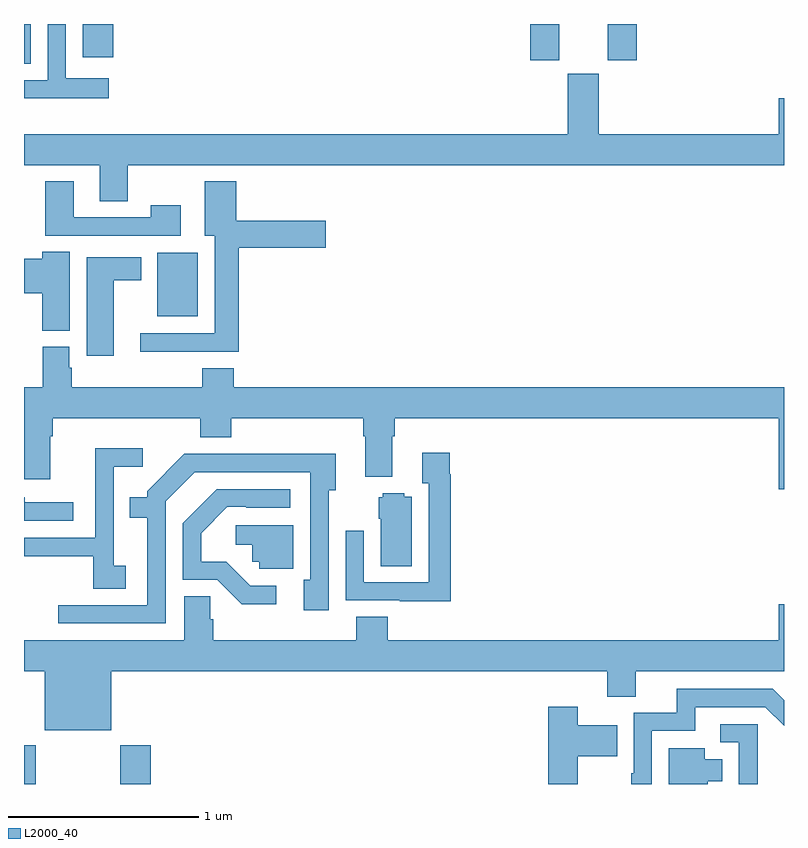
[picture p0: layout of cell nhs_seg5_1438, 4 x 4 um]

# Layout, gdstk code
import gdstk
lib = gdstk.Library(unit=1e-6, precision=1e-09)
def R(c, l, rs):  # rectangles x0, y0, x1, y1
    for r in rs: c.add(gdstk.rectangle(r[:2], r[2:], *l))
def P(c, l, *ps):  # polygons
    for p in ps: c.add(gdstk.Polygon(p, *l))
L2000_40 = (2000, 40)

nhs_seg5_1438 = lib.new_cell('nhs_seg5_1438')
R(nhs_seg5_1438, L2000_40, [(197,890.799,197.061,891.004), (197.506,890.799,197.666,891.004), (197.702,893.261,197.914,893.596), (197,894.589,197.035,894.799), (199.664,894.609,199.816,894.799), (200.072,894.609,200.225,894.799), (197.309,894.624,197.47,894.799)])
P(nhs_seg5_1438, L2000_40, [(197.446,894.514),(197.22,894.514),(197.22,894.799),(197.124,894.799),(197.124,894.504),(197,894.504),(197,894.408),(197.027,894.408),(197.027,894.407),(197.446,894.407)],
  [(197.547,894.056),(201,894.056),(201,894.409),(200.972,894.409),(200.972,894.22),(200.026,894.22),(200.026,894.537),(199.862,894.537),(199.862,894.22),(197,894.22),(197,894.056),(197.399,894.056),(197.399,893.866),(197.547,893.866)],
  [(198.131,893.621),(198.589,893.621),(198.589,893.763),(198.118,893.763),(198.118,893.971),(197.951,893.971),(197.951,893.684),(198.005,893.684),(198.005,893.172),(197.613,893.172),(197.613,893.075),(198.131,893.075)],
  [(197.824,893.845),(197.668,893.845),(197.668,893.781),(197.263,893.781),(197.263,893.971),(197.111,893.971),(197.111,893.685),(197.824,893.685)],
  [(197.242,893.6),(197.096,893.6),(197.096,893.564),(197,893.564),(197,893.381),(197.096,893.381),(197.096,893.185),(197.242,893.185)],
  [(197.473,893.45),(197.617,893.45),(197.617,893.572),(197.33,893.572),(197.33,893.052),(197.473,893.052)],
  [(201,892.888),(198.104,892.888),(198.104,892.987),(197.939,892.987),(197.939,892.888),(197.252,892.888),(197.252,892.989),(197.239,892.989),(197.239,893.1),(197.099,893.1),(197.099,892.888),(197,892.888),(197,892.404),(197.137,892.404),(197.137,892.628),(197.15,892.628),(197.15,892.724),(197.927,892.724),(197.927,892.625),(198.092,892.625),(198.092,892.724),(198.785,892.724),(198.785,892.628),(198.797,892.628),(198.797,892.415),(198.937,892.415),(198.937,892.628),(198.95,892.628),(198.95,892.724),(200.972,892.724),(200.972,892.35),(201,892.35)],
  [(197.536,891.948),(197.472,891.948),(197.472,892.469),(197.626,892.469),(197.626,892.567),(197.374,892.567),(197.374,892.328),(197.376,892.328),(197.376,892.095),(197,892.095),(197,891.999),(197.059,891.999),(197.059,891.997),(197.364,891.997),(197.364,891.826),(197.536,891.826)],
  [(199.247,892.43),(199.24,892.43),(199.24,892.543),(199.097,892.543),(199.097,892.382),(199.131,892.382),(199.131,891.861),(198.789,891.861),(198.789,892.132),(198.693,892.132),(198.693,891.765),(198.977,891.765),(198.977,891.761),(199.247,891.761)],
  [(197.745,892.287),(197.898,892.44),(198.507,892.44),(198.507,891.874),(198.473,891.874),(198.473,891.714),(198.603,891.714),(198.603,892.346),(198.64,892.346),(198.64,892.538),(198.175,892.538),(198.175,892.536),(197.844,892.536),(197.649,892.341),(197.649,892.309),(197.557,892.309),(197.557,892.2),(197.648,892.2),(197.648,891.741),(197.181,891.741),(197.181,891.645),(197.745,891.645)],
  [(198.328,891.843),(198.192,891.843),(198.065,891.97),(197.932,891.97),(197.932,892.12),(198.069,892.257),(198.169,892.257),(198.169,892.254),(198.4,892.254),(198.4,892.35),(198.014,892.35),(197.835,892.171),(197.835,891.873),(198.018,891.873),(198.146,891.746),(198.328,891.746)],
  [(199.042,892.312),(199.002,892.312),(199.002,892.33),(198.888,892.33),(198.888,892.308),(198.866,892.308),(198.866,892.194),(198.878,892.194),(198.878,891.946),(199.042,891.946)],
  [(197.26,892.281),(197.004,892.281),(197.004,892.308),(197,892.308),(197,892.185),(197.26,892.185)],
  [(198.418,892.161),(198.114,892.161),(198.114,892.058),(198.201,892.058),(198.201,891.969),(198.237,891.969),(198.237,891.933),(198.418,891.933)],
  [(197.458,891.392),(200.069,891.392),(200.069,891.259),(200.221,891.259),(200.221,891.392),(201,891.392),(201,891.745),(200.972,891.745),(200.972,891.556),(198.914,891.556),(198.914,891.68),(198.749,891.68),(198.749,891.556),(197.996,891.556),(197.996,891.666),(197.981,891.666),(197.981,891.788),(197.843,891.788),(197.843,891.556),(197,891.556),(197,891.392),(197.108,891.392),(197.108,891.083),(197.458,891.083)],
  [(200.304,891.078),(200.533,891.078),(200.533,891.204),(200.901,891.204),(201,891.106),(201,891.24),(200.94,891.3),(200.435,891.3),(200.435,891.174),(200.208,891.174),(200.208,890.855),(200.196,890.855),(200.196,890.799),(200.304,890.799)],
  [(199.914,890.944),(200.123,890.944),(200.123,891.109),(199.914,891.109),(199.914,891.205),(199.76,891.205),(199.76,890.799),(199.914,890.799)],
  [(200.861,891.114),(200.664,891.114),(200.664,891.018),(200.763,891.018),(200.763,890.799),(200.861,890.799)],
  [(200.599,890.813),(200.674,890.813),(200.674,890.929),(200.584,890.929),(200.584,890.986),(200.393,890.986),(200.393,890.799),(200.599,890.799)])

lib.write_gds('nhs_seg5_1438.gds')
